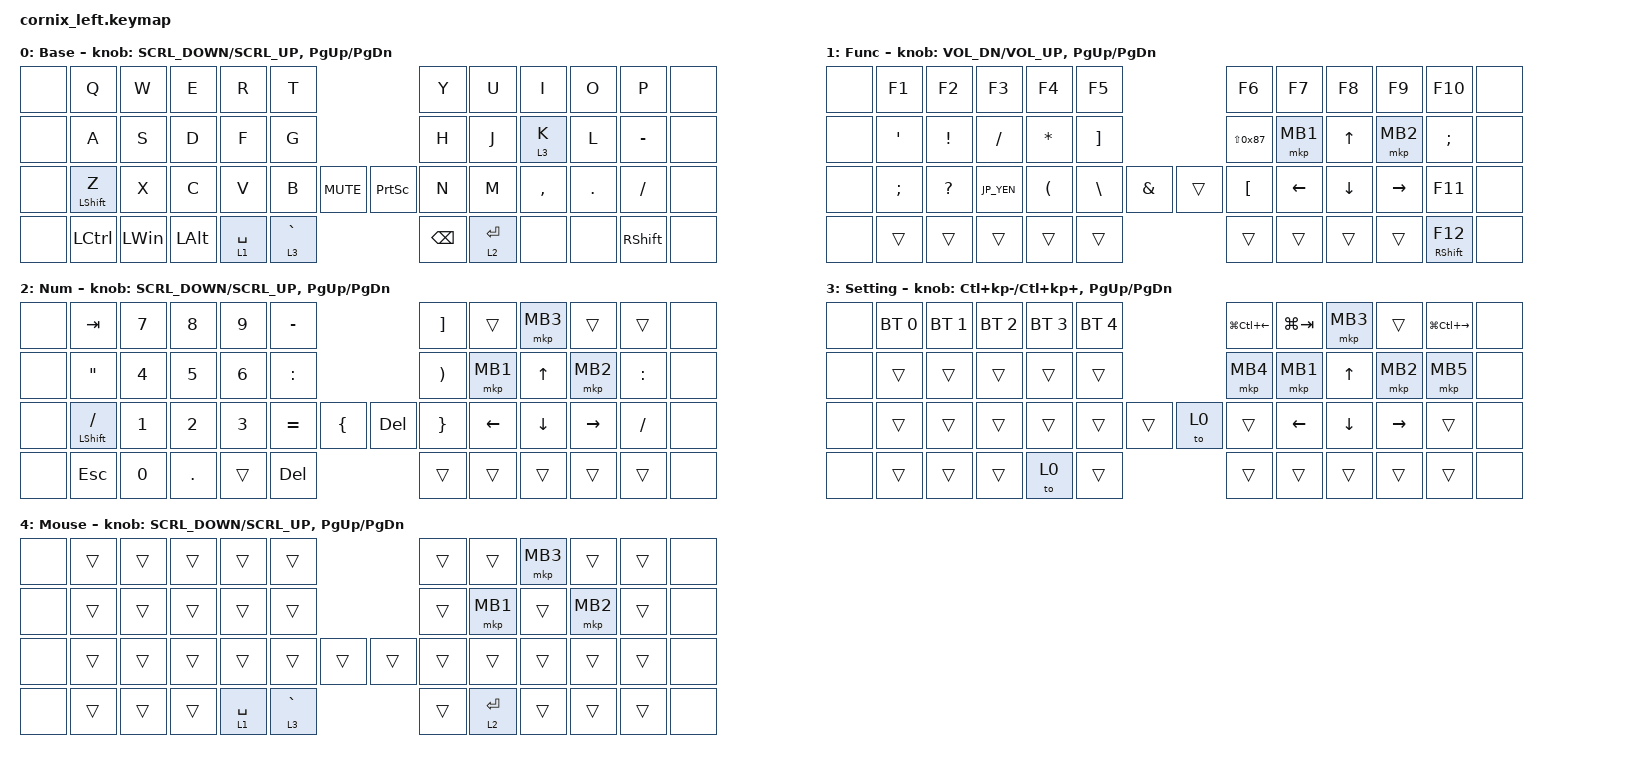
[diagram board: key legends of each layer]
/*
 * Copyright (c) 2025 The ZMK Contributors
 *
 * SPDX-License-Identifier: MIT
 */

#define ZMK_POINTING_DEFAULT_SCRL_VAL 80

#include <input/processors.dtsi>
#include <dt-bindings/zmk/mouse.h>
#include <behaviors.dtsi>
#include <dt-bindings/zmk/bt.h>
#include <dt-bindings/zmk/keys.h>
#include <dt-bindings/zmk/pointing.h>
#include <dt-bindings/zmk/input_transform.h>

#define DEFAULT 0
#define FUNCTION 1
#define NUM 2
#define SCROLL 3
#define MOUSE 4

// OS設定を日本語キーボードのまま使用するための変換定義

#define JP_DQUOTE       AT                // "
#define JP_AMPERSAND    CARET             // &
#define JP_QUOTE        AMPERSAND         // '
#define JP_EQUAL        UNDER             // =
#define JP_CARET        EQUAL             // ^
#define JP_YEN          0x89              // ¥
#define JP_PLUS         COLON             // +
#define JP_TILDE        PLUS              // ~
#define JP_PIPE         LS(0x89)          // |
#define JP_AT           LEFT_BRACKET      // @
#define JP_COLON        SINGLE_QUOTE      // :
#define JP_ASTERISK     DOUBLE_QUOTES     // *
#define JP_BACKQUOTE    LEFT_BRACE        // `
#define JP_UNDERSCORE   LS(0x87)          // _
#define JP_LBRACKET     RIGHT_BRACKET     // [
#define JP_RBRACKET     BACKSLASH         // ]
#define JP_LPAREN       ASTERISK          // (
#define JP_RPAREN       LEFT_PARENTHESIS  // )
#define JP_LBRACE       RIGHT_BRACE       // {
#define JP_RBRACE       PIPE              // }
#define JP_KANA         LANGUAGE_1        // かな
#define JP_EISU         LANGUAGE_2        // 英数
#define JP_HANZEN       GRAVE             // 半角/全角

// Configure auto-mouse layer using Input Processor approach
// Based on: https://scrapbox.io/self-made-kbds-ja/ZMK%E3%81%A7%E3%82%AA%E3%83%BC%E3%83%88%E3%83%9E%E3%82%A6%E3%82%B9%E3%83%AC%E3%82%A4%E3%83%A4%E3%83%BC%E3%82%92%E8%A8%AD%E5%AE%9A%E3%81%99%E3%82%8B

&trackball_listener {
    // Auto-mouse layer: activates layer 4 (MOUSE) when trackball moves, 600ms timeout
    // Invert both X and Y axes to reverse trackball direction (180-degree rotation)
    // Value 6 = INPUT_TRANSFORM_X_INVERT (2) | INPUT_TRANSFORM_Y_INVERT (4)
    // Scaler reduces mouse pointer speed to 2/3 for better precision

    input-processors = <
        &zip_xy_transform 6
        &zip_xy_scaler 2 3
        &zip_temp_layer MOUSE 600
    >;

    // Scroll mode: trackball XY -> scroll wheel when layer 3 (SCROLL) is active.
    // Lives in the keymap (not in cornix_*.overlay) so that the settings_reset
    // shield build, which disables ZMK_POINTING and does not load the keymap,
    // is not exposed to the &zip_xy_transform / &zip_xy_to_scroll_mapper
    // node-label references that would otherwise fail to resolve. Putting it
    // in the overlay with `#if defined(CONFIG_ZMK_POINTING)` does not work
    // because Zephyr does not inject autoconf.h into overlay CPP, so the
    // guard is always false and the block gets silently stripped.
    scroller {
        layers = <3>;
        input-processors = <&zip_xy_transform INPUT_TRANSFORM_Y_INVERT>,
                           <&zip_xy_to_scroll_mapper>,
                           <&zip_scroll_scaler 1 12>;
    };
};

&mt {
    flavor = "balanced";
    quick-tap-ms = <0>;
};

/ {
    combos {
        compatible = "zmk,combos";

        BT_reset {
            bindings = <&bt BT_CLR>;
            key-positions = <1 5>;
            layers = <3>;
        };

        bootloader {
            bindings = <&none>;
            key-positions = <2 3 4>;
            layers = <3>;
        };

        tab {
            bindings = <&kp TAB>;
            key-positions = <14 15>;
            layers = <0>;
        };

        stab {
            bindings = <&kp LS(TAB)>;
            key-positions = <15 16>;
            layers = <0>;
        };

        dq {
            bindings = <&kp DOUBLE_QUOTES>;
            key-positions = <22 21>;
            layers = <0>;
        };
    };

    macros {
        to_layer_0: to_layer_0 {
            compatible = "zmk,behavior-macro-one-param";
            #binding-cells = <1>;
            bindings = <&to 0 &macro_param_1to1 &kp MACRO_PLACEHOLDER>;
            label = "TO_LAYER_0";
        };
    };

    behaviors {
        // Auto-mouse layer activates on trackball movement

        auto_mouse: auto_mouse {
            compatible = "zmk,behavior-input-two-axis";
            #binding-cells = <1>;
            x-input-code = <INPUT_REL_X>;
            y-input-code = <INPUT_REL_Y>;
            time-to-max-speed-ms = <300>;
            trigger-period-ms = <16>;
        };

        lt_to_layer_0: lt_to_layer_0 {
            compatible = "zmk,behavior-hold-tap";
            label = "LAYER_TAP_TO_0";
            bindings = <&mo>, <&to_layer_0>;

            #binding-cells = <2>;
            tapping-term-ms = <200>;
        };

        tapdance_kana: tapdance_kana {
            compatible = "zmk,behavior-tap-dance";
            label = "TAPDANCE_KANA";
            #binding-cells = <0>;
            bindings = <&kp INT2>, <&kp LANGUAGE_2>, <&sl 1>;

            tapping-term-ms = <400>;
        };

        WheelScroll: WheelScroll {
            compatible = "zmk,behavior-sensor-rotate-var";
            label = "WHEELSCROLL";
            #sensor-binding-cells = <2>;
            bindings = <&msc>, <&msc>;

            tap-ms = <20>;
        };
    };

    keymap {
        compatible = "zmk,keymap";

        default_layer {
            display-name = "Base";
            // -----------------------------------------------------------------------------------------
            // | NONE |  Q  |  W  |  E  |  R  |  T  |                   |  Y  |  U   |  I  |  O  |  P  | NONE |
            // | NONE |  A  |  S  |  D  |  F  |  G  |  MUTE  |  |  UP  | TB  |  J   |  K  |  L  |  -  | NONE |
            // | NONE |  Z  |  X  |  C  |  V  |  B  |  MCLK  |  | DOWN |  N  |  M   |  ,  |  .  |  /  | NONE |
            //               | NONE | CTRL | WIN | ALT | SPC(L1) | GRV(L3) | | BKSP | ENT(L2) | NONE | NONE | NONE | NONE |

            bindings = <
&none  &kp Q             &kp W         &kp E         &kp R        &kp T                                     &kp Y          &kp U        &kp I      &kp O       &kp P            &none
&none  &kp A             &kp S         &kp D         &kp F        &kp G                                     &kp H          &kp J        &lt 3 K    &kp L       &kp MINUS        &none
&none  &mt LEFT_SHIFT Z  &kp X         &kp C         &kp V        &kp B        &kp C_MUTE  &kp PRINTSCREEN  &kp N          &kp M        &kp COMMA  &kp PERIOD  &kp SLASH        &none
&none  &kp LCTRL         &kp LEFT_WIN  &kp LEFT_ALT  &lt 1 SPACE  &lt 3 GRAVE                               &kp BACKSPACE  &lt 2 ENTER  &none      &none       &kp RIGHT_SHIFT  &none
            >;

            sensor-bindings = <&WheelScroll SCRL_DOWN SCRL_UP &inc_dec_kp PG_UP PG_DN>;
        };

        function_layer {
            display-name = "Func";
            // -----------------------------------------------------------------------------------------
            // | NONE |  F1  |  F2  |  F3  |  F4  |  F5  |                   |  F6  |  F7  |  F8  |  F9  | F10 | NONE |
            // | NONE |  :   |  !   |  /   |  (   |  [   |                   |  _   | MB1  |  UP  | MB2  |  ;  | NONE |
            // | NONE |  ;   |  ?   |  ¥   |  )   |  ]   |   '    |  | TRANS |  @   | LEFT | DOWN | RGT  | F11 | NONE |
            //               | NONE | TRANS| TRANS| TRANS| TRANS | TRANS  |  | TRANS | TRANS| NONE | NONE | NONE | F12 |

            bindings = <
&none  &kp F1        &kp F2     &kp F3      &kp F4         &kp F5                                 &kp F6             &kp F7    &kp F8    &kp F9     &kp F10        &none
&none  &kp JP_COLON  &kp EXCL   &kp SLASH   &kp JP_LPAREN  &kp JP_LBRACKET                        &kp JP_UNDERSCORE  &mkp MB1  &kp UP    &mkp MB2   &kp SEMICOLON  &none
&none  &kp SEMI      &kp QMARK  &kp JP_YEN  &kp JP_RPAREN  &kp JP_RBRACKET  &kp JP_QUOTE  &trans  &kp JP_AT          &kp LEFT  &kp DOWN  &kp RIGHT  &kp F11        &none
&none  &trans        &trans     &trans      &trans         &trans                                 &trans             &trans    &trans    &trans     &mt RSHFT F12  &none
            >;

            sensor-bindings = <&inc_dec_kp C_VOL_DN C_VOL_UP &inc_dec_kp PG_UP PG_DN>;
        };

        num_layer {
            display-name = "Num";
            // -----------------------------------------------------------------------------------------
            // | NONE | TAB  |  7   |  8   |  9   |  -   |                   |  ]   | TRANS| MB3  | TRANS| TRANS| NONE |
            // | NONE |  *   |  4   |  5   |  6   |  +   |                   |  )   | MB1  |  UP  | MB2  |  :   | NONE |
            // | NONE |  /   |  1   |  2   |  3   |  =   |   `    |  |  DEL  |  }   | LEFT | DOWN | RGT  |  /   | NONE |
            //               | NONE |  ESC |  0   |  .   | TRANS |  DEL   |  | TRANS | TRANS| NONE | NONE | NONE | NONE |

            bindings = <
&none  &kp TAB          &kp N7  &kp N8   &kp N9  &kp MINUS                               &kp RBKT  &trans    &mkp MB3  &trans     &trans     &none
&none  &kp JP_ASTERISK  &kp N4  &kp N5   &kp N6  &kp JP_PLUS                             &kp RPAR  &mkp MB1  &kp UP    &mkp MB2   &kp COLON  &none
&none  &mt LSHFT SLASH  &kp N1  &kp N2   &kp N3  &kp EQUAL    &kp JP_BACKQUOTE  &kp DEL  &kp RBRC  &kp LEFT  &kp DOWN  &kp RIGHT  &kp SLASH  &none
&none  &kp ESC          &kp N0  &kp DOT  &trans  &kp DELETE                              &trans    &trans    &trans    &trans     &trans     &none
            >;

            sensor-bindings = <&WheelScroll SCRL_DOWN SCRL_UP &inc_dec_kp PG_UP PG_DN>;
        };

        scroll_layer {
            display-name = "Setting";
            // -----------------------------------------------------------------------------------------
            // | NONE | BT0  | BT1  | BT2  | BT3  | BT4  |                   | ⌘⌃← | ⌘TAB | MB3  | TRANS| ⌘⌃→ | NONE |
            // | NONE | TRANS| TRANS| TRANS| TRANS| TRANS|                   | MB4  | MB1  |  UP  | MB2  | MB5  | NONE |
            // | NONE | TRANS| TRANS| TRANS| TRANS| TRANS| TRANS |  |  TO0  | TRANS| LEFT | DOWN | RGT  | TRANS| NONE |
            //               | NONE | TRANS| TRANS| TRANS| TO0   | TRANS  |  | TRANS | TRANS| NONE | NONE | NONE | NONE |

            bindings = <
&none  &bt BT_SEL 0  &bt BT_SEL 1  &bt BT_SEL 2  &bt BT_SEL 3  &bt BT_SEL 4                 &kp LG(LC(LEFT))  &kp LG(TAB)  &mkp MB3  &trans     &kp LG(LC(RIGHT))  &none
&none  &trans        &trans        &trans        &trans        &trans                       &mkp MB4          &mkp MB1     &kp UP    &mkp MB2   &mkp MB5           &none
&none  &trans        &trans        &trans        &trans        &trans        &trans  &to 0  &trans            &kp LEFT     &kp DOWN  &kp RIGHT  &trans             &none
&none  &trans        &trans        &trans        &to 0         &trans                       &trans            &trans       &trans    &trans     &trans             &none
            >;

            sensor-bindings = <&inc_dec_kp LC(KP_MINUS) LC(KP_PLUS) &inc_dec_kp PG_UP PG_DN>;
        };

        mouse_layer {
            display-name = "Mouse";
            // -----------------------------------------------------------------------------------------
            // | NONE | TRANS| TRANS| TRANS| TRANS| TRANS|                   | TRANS| TRANS| MB3  | TRANS| TRANS| NONE |
            // | NONE | TRANS| TRANS| TRANS| TRANS| TRANS|        |  |  TO0  | TRANS| MB1  | UP   | MB2  | TRANS| NONE |
            // | NONE | TRANS| TRANS| TRANS| TRANS| TRANS| TRANS |  | TRANS | TRANS| LEFT | DOWN | RGT  | TRANS| NONE |
            //               | NONE | TRANS| TRANS| TRANS| SPC(L1) | GRV(L3) |  | TRANS | ENT(L2) | NONE | NONE | NONE | BOOT |

            bindings = <
&none  &trans  &trans  &trans  &trans       &trans                       &trans  &trans       &mkp MB3  &trans    &trans  &none
&none  &trans  &trans  &trans  &trans       &trans                       &trans  &mkp MB1     &trans    &mkp MB2  &trans  &none
&none  &trans  &trans  &trans  &trans       &trans       &trans  &trans  &trans  &trans       &trans    &trans    &trans  &none
&none  &trans  &trans  &trans  &lt 1 SPACE  &lt 3 GRAVE                  &trans  &lt 2 ENTER  &trans    &trans    &trans  &none
            >;

            sensor-bindings = <&WheelScroll SCRL_DOWN SCRL_UP &inc_dec_kp PG_UP PG_DN>;
        };
    };
};
